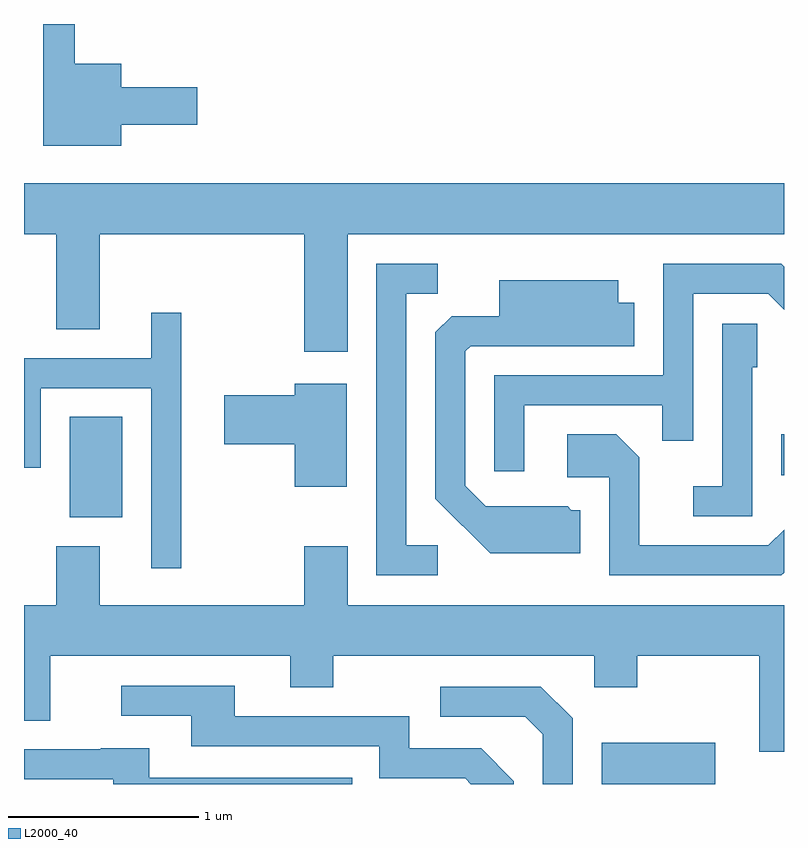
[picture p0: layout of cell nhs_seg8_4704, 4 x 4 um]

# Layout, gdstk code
import gdstk
lib = gdstk.Library(unit=1e-6, precision=1e-09)
def R(c, l, rs):  # rectangles x0, y0, x1, y1
    for r in rs: c.add(gdstk.rectangle(r[:2], r[2:], *l))
def P(c, l, *ps):  # polygons
    for p in ps: c.add(gdstk.Polygon(p, *l))
L2000_40 = (2000, 40)

nhs_seg8_4704 = lib.new_cell('nhs_seg8_4704')
R(nhs_seg8_4704, L2000_40, [(328.651,1902.342,329.249,1902.559), (325.851,1903.746,326.129,1904.274), (329.596,1903.966,329.611,1904.184)])
P(nhs_seg8_4704, L2000_40, [(326.124,1905.811),(326.524,1905.811),(326.524,1906.009),(326.124,1906.009),(326.124,1906.134),(325.879,1906.134),(325.879,1906.342),(325.711,1906.342),(325.711,1905.701),(326.124,1905.701)],
  [(325.611,1905.236),(325.781,1905.236),(325.781,1904.736),(326.009,1904.736),(326.009,1905.236),(327.086,1905.236),(327.086,1904.616),(327.314,1904.616),(327.314,1905.236),(329.611,1905.236),(329.611,1905.504),(325.611,1905.504)],
  [(327.788,1903.599),(327.624,1903.599),(327.624,1904.921),(327.788,1904.921),(327.788,1905.079),(327.466,1905.079),(327.466,1903.441),(327.788,1903.441)],
  [(328.244,1904.336),(328.971,1904.336),(328.971,1904.148),(329.134,1904.148),(329.134,1904.921),(329.529,1904.921),(329.611,1904.839),(329.611,1905.065),(329.597,1905.079),(328.976,1905.079),(328.976,1904.494),(328.086,1904.494),(328.086,1903.988),(328.244,1903.988)],
  [(328.539,1903.784),(328.492,1903.784),(328.472,1903.804),(328.042,1903.804),(327.934,1903.912),(327.934,1904.619),(327.962,1904.646),(328.824,1904.646),(328.824,1904.874),(328.739,1904.874),(328.739,1904.994),(328.111,1904.994),(328.111,1904.804),(327.862,1904.804),(327.776,1904.719),(327.776,1903.844),(328.064,1903.556),(328.539,1903.556)],
  [(326.439,1904.823),(326.281,1904.823),(326.281,1904.584),(325.611,1904.584),(325.611,1904.006),(325.699,1904.006),(325.699,1904.426),(326.281,1904.426),(326.281,1903.478),(326.439,1903.478)],
  [(329.444,1904.536),(329.469,1904.536),(329.469,1904.764),(329.286,1904.764),(329.286,1903.909),(329.133,1903.909),(329.133,1903.751),(329.444,1903.751)],
  [(327.309,1904.449),(327.036,1904.449),(327.036,1904.389),(326.666,1904.389),(326.666,1904.131),(327.036,1904.131),(327.036,1903.906),(327.309,1903.906)],
  [(329.611,1903.455),(329.611,1903.681),(329.529,1903.599),(328.849,1903.599),(328.849,1904.062),(328.727,1904.184),(328.471,1904.184),(328.471,1903.956),(328.691,1903.956),(328.691,1903.441),(329.597,1903.441)],
  [(329.611,1903.284),(327.314,1903.284),(327.314,1903.594),(327.086,1903.594),(327.086,1903.284),(326.009,1903.284),(326.009,1903.594),(325.781,1903.594),(325.781,1903.284),(325.611,1903.284),(325.611,1902.676),(325.749,1902.676),(325.749,1903.016),(327.011,1903.016),(327.011,1902.851),(327.239,1902.851),(327.239,1903.016),(328.611,1903.016),(328.611,1902.851),(328.839,1902.851),(328.839,1903.016),(329.481,1903.016),(329.481,1902.511),(329.611,1902.511)],
  [(328.189,1902.357),(328.017,1902.529),(327.639,1902.529),(327.639,1902.699),(326.719,1902.699),(326.719,1902.859),(326.123,1902.859),(326.123,1902.701),(326.491,1902.701),(326.491,1902.541),(327.481,1902.541),(327.481,1902.371),(327.934,1902.371),(327.963,1902.342),(328.189,1902.342)],
  [(328.499,1902.687),(328.332,1902.854),(327.803,1902.854),(327.803,1902.696),(328.249,1902.696),(328.341,1902.604),(328.341,1902.342),(328.499,1902.342)],
  [(327.338,1902.374),(326.269,1902.374),(326.269,1902.529),(326.015,1902.529),(326.015,1902.524),(325.611,1902.524),(325.611,1902.366),(326.081,1902.366),(326.081,1902.342),(327.338,1902.342)])

lib.write_gds('nhs_seg8_4704.gds')
